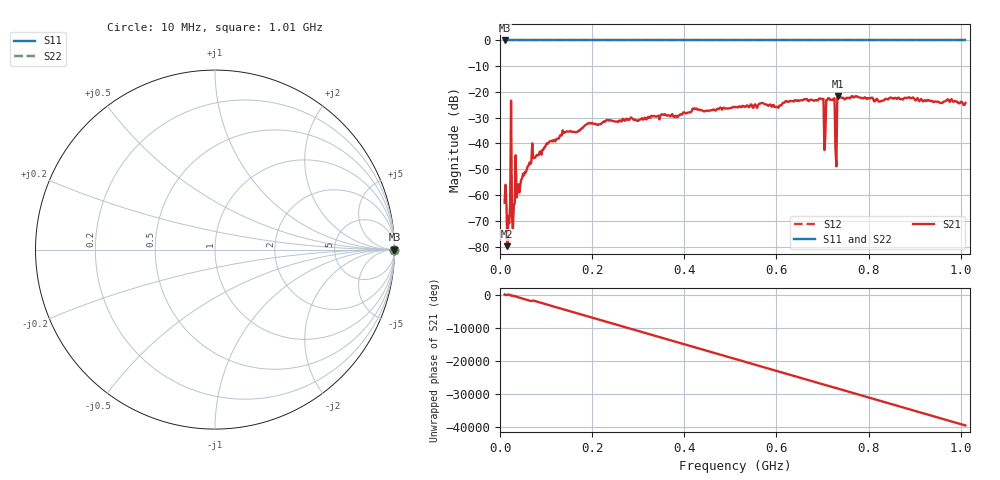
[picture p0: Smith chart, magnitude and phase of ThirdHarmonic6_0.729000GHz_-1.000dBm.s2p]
! 8/16/2025 12:23:41 AM
! C:\ANRITSUVNA\TEMP\TEMP.S2P
! CHANNEL.1
! TR.MEASUREMENT
! RAW.DATA
! RF.CORRECTION.OFF
! AVERAGING.OFF
! IF.BANDWIDTH: 5KHZ
! SWEEPTYPE:  FREQ.SWEEP(Linear)
! Reference Plane Port Info
! PORT:  PORT1  PORT2
! DISTANCE:  0  m  0  m
! TIME:  0  s  0  s
! PHASE.OFFSET:  0  deg.  0  deg.
! LOSS:  0  dB  0  dB
! REF.LOSS:  0  dB  0  dB
! REF.FREQ:  0  Hz  0  Hz
! Power Info
! POWER:  -20  dBm  -20  dBm
! EFF.POWER:  -20  dBm  -20  dBm
! SOURCE.ATTEN:  0  dB  0  dB
! TEST.ATTEN:  0  dB  0  dB
# GHZ S RI R 50.0
! FREQ.GHZ  S11RE  S11IM  S21RE  S21IM  S12RE  S12IM  S22RE  S22IM
!; PortSelection: Port_12
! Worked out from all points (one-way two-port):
!   501 points, 10 MHz to 1.01 GHz, reference 50 ohm
!   highest |S21| = -21.51 dB at 734 MHz (marker M1); lowest = -79.9 dB at 16 MHz (marker M2)
!   lowest |S11| = 0.0 dB at 10 MHz (marker M3)
!   |S11| at or under -10 dB: nowhere
!   |S22| runs from 0.0 to 0.0 dB; largest |S21 - S12| = 1.1
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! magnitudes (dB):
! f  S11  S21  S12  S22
! 10 MHz  0.0  -63.0  0.0  0.0
! 16 MHz  0.0  -79.9  0.0  0.0
! 18 MHz  0.0  -68.2  0.0  0.0
! 22 MHz  0.0  -63.4  0.0  0.0
! 28 MHz  0.0  -73.1  0.0  0.0
! 30 MHz  0.0  -64.1  0.0  0.0
! 36 MHz  0.0  -61.0  0.0  0.0
! 74 MHz  0.0  -45.7  0.0  0.0
! 178 MHz  0.0  -34.0  0.0  0.0
! 344 MHz  0.0  -29.2  0.0  0.0
! 510 MHz  0.0  -25.9  0.0  0.0
! 678 MHz  0.0  -23.2  0.0  0.0
! 698 MHz  0.0  -22.7  0.0  0.0
! 702 MHz  0.0  -22.7  0.0  0.0
! 706 MHz  0.0  -37.2  0.0  0.0
! 712 MHz  0.0  -22.5  0.0  0.0
! 722 MHz  0.0  -23.2  0.0  0.0
! 726 MHz  0.0  -22.4  0.0  0.0
! 734 MHz  0.0  -21.5  0.0  0.0
! 736 MHz  0.0  -22.0  0.0  0.0
! 844 MHz  0.0  -22.6  0.0  0.0
! 1.01 GHz  0.0  -24.3  0.0  0.0
